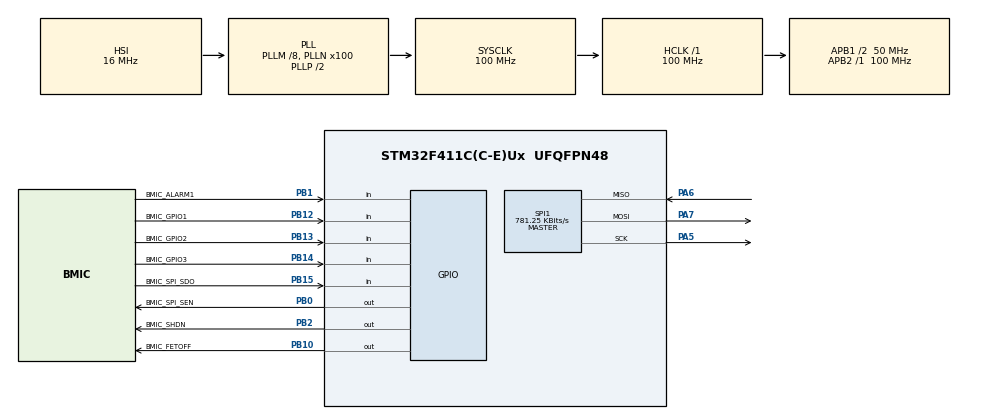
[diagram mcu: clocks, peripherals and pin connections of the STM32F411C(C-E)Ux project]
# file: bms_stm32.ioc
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Mcu.Family=STM32F4
Mcu.Name=STM32F411C(C-E)Ux
Mcu.Package=UFQFPN48
NVIC.PriorityGroup=NVIC_PRIORITYGROUP_4
NVIC.TIM4_IRQn=true\:0\:0\:false\:false\:true\:true\:true\:true
PA13.Mode=Serial_Wire
PA13.Signal=SYS_JTMS-SWDIO
PA14.Mode=Serial_Wire
PA14.Signal=SYS_JTCK-SWCLK
PA5.Mode=Full_Duplex_Master
PA5.Signal=SPI1_SCK
PA6.Mode=Full_Duplex_Master
PA6.Signal=SPI1_MISO
PA7.Mode=Full_Duplex_Master
PA7.Signal=SPI1_MOSI
PB0.GPIO_Label=BMIC_SPI_SEN
PB0.Signal=GPIO_Output
PB1.GPIO_Label=BMIC_ALARM1
PB1.Signal=GPIO_Input
PB10.GPIO_Label=BMIC_FETOFF
PB10.Signal=GPIO_Output
PB12.GPIO_Label=BMIC_GPIO1
PB12.Signal=GPIO_Input
PB13.GPIO_Label=BMIC_GPIO2
PB13.Signal=GPIO_Input
PB14.GPIO_Label=BMIC_GPIO3
PB14.Signal=GPIO_Input
PB15.GPIO_Label=BMIC_SPI_SDO
PB15.Signal=GPIO_Input
PB2.GPIO_Label=BMIC_SHDN
PB2.Signal=GPIO_Output
PH0\ -\ OSC_IN.Mode=HSE-External-Oscillator
PH0\ -\ OSC_IN.Signal=RCC_OSC_IN
PH1\ -\ OSC_OUT.Mode=HSE-External-Oscillator
PH1\ -\ OSC_OUT.Signal=RCC_OSC_OUT
ProjectManager.HeapSize=0x200
ProjectManager.StackSize=0x400
ProjectManager.TargetToolchain=STM32CubeIDE
RCC.48MHZClocksFreq_Value=50000000
RCC.AHBFreq_Value=100000000
RCC.APB1CLKDivider=RCC_HCLK_DIV2
RCC.APB1Freq_Value=50000000
RCC.APB1TimFreq_Value=100000000
RCC.APB2Freq_Value=100000000
RCC.APB2TimFreq_Value=100000000
RCC.CortexFreq_Value=100000000
RCC.HCLKFreq_Value=100000000
RCC.HSE_VALUE=25000000
RCC.HSI_VALUE=16000000
RCC.LSE_VALUE=32768
RCC.PLLM=8
RCC.PLLN=100
RCC.SYSCLKFreq_VALUE=100000000
RCC.SYSCLKSource=RCC_SYSCLKSOURCE_PLLCLK
RCC.VCOOutputFreq_Value=200000000
SPI1.BaudRatePrescaler=SPI_BAUDRATEPRESCALER_128
SPI1.CLKPhase=SPI_PHASE_2EDGE
SPI1.CalculateBaudRate=781.25 KBits/s
SPI1.Direction=SPI_DIRECTION_2LINES
SPI1.Mode=SPI_MODE_MASTER
SPI1.VirtualType=VM_MASTER
TIM4.AutoReloadPreload=TIM_AUTORELOAD_PRELOAD_ENABLE
TIM4.Period=99
TIM4.Prescaler=999
VP_TIM4_VS_ClockSourceINT.Mode=Internal
board=custom

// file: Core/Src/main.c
/* USER CODE BEGIN Header */
/**
  ******************************************************************************
  * @file           : main.c
  * @brief          : Main program body
  ******************************************************************************
  * @attention
  *
  * Copyright (c) 2023 STMicroelectronics.
  * All rights reserved.
  *
  * This software is licensed under terms that can be found in the LICENSE file
  * in the root directory of this software component.
  * If no LICENSE file comes with this software, it is provided AS-IS.
  *
  ******************************************************************************
  */
/* USER CODE END Header */
#include "main.h"

/* USER CODE BEGIN Includes */
#include "sys_type.h"
#include "tsk_bmic.h"
/* USER CODE END Includes */

/* USER CODE BEGIN PD */
#define	MAIN_LOOP_100MS_1MS	(100)			/* main loop counter based on 1ms timer, 100ms/1ms  */
#define	LOOP_500MS_100MS	(5)				/* 500ms/100ms */
#define	SEC_CNT_1000MS_1MS	(1000)				/* sec counter based on 250ms timer, 1000ms/250ms  */
/* USER CODE END PD */

SPI_HandleTypeDef hspi1;

TIM_HandleTypeDef htim4;

/* USER CODE BEGIN PV */
volatile USHORT ucMainLoopCnt_1ms = MAIN_LOOP_100MS_1MS;
volatile USHORT ucSecCnt_1000ms = SEC_CNT_1000MS_1MS;
//volatile UCHAR ucCnt500ms_100ms = LOOP_500MS_100MS;

volatile USHORT ucMainLoopFlg = 1;
//volatile UCHAR ucMainExeFlg = 0;
//volatile UCHAR ucLoop500msFlg = 0;

static ULONG ulMainSecCnt = 0;
/* USER CODE END PV */

void SystemClock_Config(void);
static void MX_GPIO_Init(void);
static void MX_SPI1_Init(void);
static void MX_TIM4_Init(void);

int main(void)
{

  /* MCU Configuration--------------------------------------------------------*/

  /* Reset of all peripherals, Initializes the Flash interface and the Systick. */
  HAL_Init();

  /* Configure the system clock */
  SystemClock_Config();

  /* Initialize all configured peripherals */
  MX_GPIO_Init();
  MX_SPI1_Init();
  MX_TIM4_Init();
  /* USER CODE BEGIN 2 */
  vTskInit_bmic();
  HAL_TIM_Base_Start_IT(&htim4);
  /* USER CODE END 2 */

  /* Infinite loop */
  while (1)
  {

    /* USER CODE BEGIN 3 */
	  while(1){

	  		if(ucMainLoopFlg){
	  			ucMainLoopFlg = 0;

	  			vTsk_bmic();

	  		}

	  	}
  }
  /* USER CODE END 3 */
}

void SystemClock_Config(void)
{
  RCC_OscInitTypeDef RCC_OscInitStruct = {0};
  RCC_ClkInitTypeDef RCC_ClkInitStruct = {0};

  /** Configure the main internal regulator output voltage
  */
  __HAL_RCC_PWR_CLK_ENABLE();
  __HAL_PWR_VOLTAGESCALING_CONFIG(PWR_REGULATOR_VOLTAGE_SCALE1);

  /** Initializes the RCC Oscillators according to the specified parameters
  * in the RCC_OscInitTypeDef structure.
  */
  RCC_OscInitStruct.OscillatorType = RCC_OSCILLATORTYPE_HSI;
  RCC_OscInitStruct.HSIState = RCC_HSI_ON;
  RCC_OscInitStruct.HSICalibrationValue = RCC_HSICALIBRATION_DEFAULT;
  RCC_OscInitStruct.PLL.PLLState = RCC_PLL_ON;
  RCC_OscInitStruct.PLL.PLLSource = RCC_PLLSOURCE_HSI;
  RCC_OscInitStruct.PLL.PLLM = 8;
  RCC_OscInitStruct.PLL.PLLN = 100;
  RCC_OscInitStruct.PLL.PLLP = RCC_PLLP_DIV2;
  RCC_OscInitStruct.PLL.PLLQ = 4;
  if (HAL_RCC_OscConfig(&RCC_OscInitStruct) != HAL_OK)
  {
    Error_Handler();
  }

  /** Initializes the CPU, AHB and APB buses clocks
  */
  RCC_ClkInitStruct.ClockType = RCC_CLOCKTYPE_HCLK|RCC_CLOCKTYPE_SYSCLK
                              |RCC_CLOCKTYPE_PCLK1|RCC_CLOCKTYPE_PCLK2;
  RCC_ClkInitStruct.SYSCLKSource = RCC_SYSCLKSOURCE_PLLCLK;
  RCC_ClkInitStruct.AHBCLKDivider = RCC_SYSCLK_DIV1;
  RCC_ClkInitStruct.APB1CLKDivider = RCC_HCLK_DIV2;
  RCC_ClkInitStruct.APB2CLKDivider = RCC_HCLK_DIV1;

  if (HAL_RCC_ClockConfig(&RCC_ClkInitStruct, FLASH_LATENCY_3) != HAL_OK)
  {
    Error_Handler();
  }
}

static void MX_SPI1_Init(void)
{

  /* SPI1 parameter configuration*/
  hspi1.Instance = SPI1;
  hspi1.Init.Mode = SPI_MODE_MASTER;
  hspi1.Init.Direction = SPI_DIRECTION_2LINES;
  hspi1.Init.DataSize = SPI_DATASIZE_8BIT;
  hspi1.Init.CLKPolarity = SPI_POLARITY_LOW;
  hspi1.Init.CLKPhase = SPI_PHASE_2EDGE;
  hspi1.Init.NSS = SPI_NSS_SOFT;
  hspi1.Init.BaudRatePrescaler = SPI_BAUDRATEPRESCALER_128;
  hspi1.Init.FirstBit = SPI_FIRSTBIT_MSB;
  hspi1.Init.TIMode = SPI_TIMODE_DISABLE;
  hspi1.Init.CRCCalculation = SPI_CRCCALCULATION_DISABLE;
  hspi1.Init.CRCPolynomial = 10;
  if (HAL_SPI_Init(&hspi1) != HAL_OK)
  {
    Error_Handler();
  }

}

static void MX_TIM4_Init(void)
{

  TIM_ClockConfigTypeDef sClockSourceConfig = {0};
  TIM_MasterConfigTypeDef sMasterConfig = {0};

  htim4.Instance = TIM4;
  htim4.Init.Prescaler = 999;
  htim4.Init.CounterMode = TIM_COUNTERMODE_UP;
  htim4.Init.Period = 99;
  htim4.Init.ClockDivision = TIM_CLOCKDIVISION_DIV1;
  htim4.Init.AutoReloadPreload = TIM_AUTORELOAD_PRELOAD_ENABLE;
  if (HAL_TIM_Base_Init(&htim4) != HAL_OK)
  {
    Error_Handler();
  }
  sClockSourceConfig.ClockSource = TIM_CLOCKSOURCE_INTERNAL;
  if (HAL_TIM_ConfigClockSource(&htim4, &sClockSourceConfig) != HAL_OK)
  {
    Error_Handler();
  }
  sMasterConfig.MasterOutputTrigger = TIM_TRGO_RESET;
  sMasterConfig.MasterSlaveMode = TIM_MASTERSLAVEMODE_DISABLE;
  if (HAL_TIMEx_MasterConfigSynchronization(&htim4, &sMasterConfig) != HAL_OK)
  {
    Error_Handler();
  }

}

static void MX_GPIO_Init(void)
{
  GPIO_InitTypeDef GPIO_InitStruct = {0};

  /* GPIO Ports Clock Enable */
  __HAL_RCC_GPIOH_CLK_ENABLE();
  __HAL_RCC_GPIOA_CLK_ENABLE();
  __HAL_RCC_GPIOB_CLK_ENABLE();

  /*Configure GPIO pin Output Level */
  HAL_GPIO_WritePin(GPIOB, BMIC_SPI_SEN_Pin|BMIC_SHDN_Pin|BMIC_FETOFF_Pin, GPIO_PIN_RESET);

  /*Configure GPIO pins : BMIC_SPI_SEN_Pin BMIC_SHDN_Pin BMIC_FETOFF_Pin */
  GPIO_InitStruct.Pin = BMIC_SPI_SEN_Pin|BMIC_SHDN_Pin|BMIC_FETOFF_Pin;
  GPIO_InitStruct.Mode = GPIO_MODE_OUTPUT_PP;
  GPIO_InitStruct.Pull = GPIO_NOPULL;
  GPIO_InitStruct.Speed = GPIO_SPEED_FREQ_LOW;
  HAL_GPIO_Init(GPIOB, &GPIO_InitStruct);

  /*Configure GPIO pins : BMIC_ALARM1_Pin BMIC_GPIO1_Pin BMIC_GPIO2_Pin BMIC_GPIO3_Pin
                           BMIC_SPI_SDO_Pin */
  GPIO_InitStruct.Pin = BMIC_ALARM1_Pin|BMIC_GPIO1_Pin|BMIC_GPIO2_Pin|BMIC_GPIO3_Pin
                          |BMIC_SPI_SDO_Pin;
  GPIO_InitStruct.Mode = GPIO_MODE_INPUT;
  GPIO_InitStruct.Pull = GPIO_NOPULL;
  HAL_GPIO_Init(GPIOB, &GPIO_InitStruct);

}

/* USER CODE BEGIN 4 */
ULONG ulGetMainSecCnt(void)
{
	return(ulMainSecCnt);
}

void HAL_TIM_PeriodElapsedCallback(TIM_HandleTypeDef* htim)
{
	if (htim == &htim4) {

		ucMainLoopCnt_1ms--;
		if(ucMainLoopCnt_1ms ==(UCHAR)0u){
			ucMainLoopCnt_1ms = MAIN_LOOP_100MS_1MS;
			ucMainLoopFlg = 1;
		}

		ucSecCnt_1000ms --;
		if(ucSecCnt_1000ms == (UCHAR)0u){
			ucSecCnt_1000ms = SEC_CNT_1000MS_1MS;
			ulMainSecCnt ++;
		}
	}
}
/* USER CODE END 4 */

void Error_Handler(void)
{
  __disable_irq();
  while (1)
  {
  }
}
